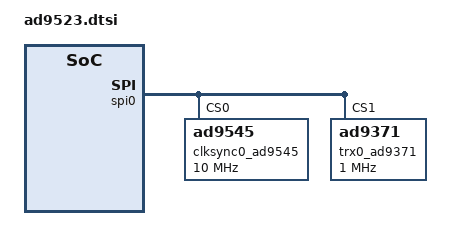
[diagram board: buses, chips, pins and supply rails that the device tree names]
&spi0 {
	status = "okay";
};

//#define fmc_spi spi0

#include <ad9528.h>

/ {
	clocks {

	};
};

&spi0 {
	clksync0_ad9545: ad9545-lpc@0 {
			#address-cells = <1>;
			#size-cells = <0>;
			#clock-cells = <1>;
			compatible = "ad9545";
			reg = <0>;

			//spi-3wire;
			spi-max-frequency = <10000000>;

			//reset-gpios = <&gpio_daq1 3 0>;

			clock-output-names = "ad9508-1_out0", "ad9508-1_out1", "ad9508-1_out2";

			//ad9545,regmap-init=<0x0627 0xB0
                        //                 0x0628 0x00
                        //                 0x0629 0x10
                        //                 0x062A 0x27
                        //                 0x062B 0x20
                        //                 0x062C 0x44
                        //                 0x062D 0xF4
                        //                 0x062E 0x01
                        //                 0x0628 0x06>;
//			ad9545,regmap-init=<0x000 0x18
//					    0x001 0x00
//					    0x003 0x05
//					    0x004 0xFF
//					    0x005 0x00
//					    0x006 0x00
//					    0x00a 0x00
//					    0x00b 0x00
//					    0x00c 0x56
//					    0x00d 0x04
//					    0x00f 0x00
//					    0x100 0x7D
//					    0x101 0x00
//					    0x102 0x0A
//					    0x103 0x00
//					    0x104 0x2C
//					    0x105 0x01
//					    0x106 0x7F
//					    0x107 0x03
//					    0x108 0x08
//					    0x109 0x14
//					    0x10a 0x02
//					    0x10b 0x00
//					    0x200 0xFF
//					    0x201 0x1E
//					    0x202 0x03
//					    0x203 0x05
//					    0x204 0x03
//					    0x205 0x00
//					    0x206 0x00
//					    0x207 0x00
//					    0x208 0x27
//					    0x209 0x00
//					    0x300 0x40
//					    0x301 0x00
//					    0x302 0x00
//					    0x303 0x00
//					    0x304 0x00
//					    0x305 0x09
//					    0x306 0x00
//					    0x307 0x00
//					    0x308 0x09
//					    0x309 0x00
//					    0x30a 0x00
//					    0x30b 0x09
//					    0x30c 0x00
//					    0x30d 0x00
//					    0x30e 0x27
//					    0x30f 0x00
//					    0x310 0x00
//					    0x311 0x09
//					    0x312 0x00
//					    0x313 0x00
//					    0x314 0x09
//					    0x315 0x40
//					    0x316 0x00
//					    0x317 0x00
//					    0x318 0x00
//					    0x319 0x00
//					    0x31a 0x09
//					    0x31b 0x00
//					    0x31c 0x00
//					    0x31d 0x27
//					    0x31e 0x00
//					    0x31f 0x80
//					    0x320 0x13
//					    0x321 0x40
//					    0x322 0x00
//					    0x323 0x00
//					    0x324 0x20
//					    0x325 0x00
//					    0x326 0x00
//					    0x327 0x20
//					    0x328 0x00
//					    0x329 0x00
//					    0x32a 0x00
//					    0x32b 0x00
//					    0x32c 0x00
//					    0x32d 0x00
//					    0x32e 0x00
//					    0x00F 0x01
//					    0x203 0x04
//					    0x00F 0x01
//					    0x400 0x19
//					    0x401 0x00
//					    0x402 0x00
//					    0x00F 0x01
//					    0x403 0x90
//					    0x404 0x04
//					    0x500 0x10
//					    0x501 0x03
//					    0x502 0x38
//					    0x503 0xFF
//					    0x504 0xFF
//					    0x505 0x00
//					    0x506 0x00
//					    0x507 0x00
//					    0x508 0x00
//					    0x509 0x00
//					    0xffe 0x00 >;
			ad9545_0_c0:channel@0 {
				reg = <0>;
				extended-name = "SYSREF";
				clock-frequency = <122880000>;
			};
			ad9545_0_c1:channel@1 {
				reg = <1>;
				extended-name = "PLL_REF";
				clock-frequency = <122880000>;

			};
			ad9545_0_c2:channel@2 {
				reg = <2>;
				extended-name = "GBTCLK";
				clock-frequency = <122880000>;

			};
	};

	trx0_ad9371: ad9371-phy@1 {
		#address-cells = <1>;
		#size-cells = <0>;
		#clock-cells = <1>;
		compatible = "ad9371";

		/* SPI Setup */
		reg = <1>;
		spi-max-frequency = <1000000>;

		/* Clocks */
		clocks = <&clksync0_ad9545 0>, <&clksync0_ad9545 1>, <&clksync0_ad9545 2>, <&clksync0_ad9545 2>, <&clksync0_ad9545 2>;
		clock-names = "jesd_rx_clk", "jesd_tx_clk", "jesd_rx_os_clk", "dev_clk", "fmc_clk";
		clock-output-names = "rx_sampl_clk", "rx_os_sampl_clk", "tx_sampl_clk";

		adi,clocks-device-clock_khz = <122880>;
		adi,clocks-clk-pll-vco-freq_khz = <9830400>;
		adi,clocks-clk-pll-vco-div = <2>;
		adi,clocks-clk-pll-hs-div = <4>;

		adi,rx-settings-rx-pll-lo-frequency_hz = /bits/64 <829500000>;
		adi,tx-settings-tx-pll-lo-frequency_hz = /bits/64 <874500000>;

		/* rx framer */
		adi,jesd204-rx-framer-m = <4>;
		adi,jesd204-rx-framer-scramble = <1>;
		adi,jesd204-rx-framer-serializer-lanes-enabled = <4>;

		/* obs frame */
		adi,jesd204-obs-framer-m = <2>;
		adi,jesd204-obs-framer-scramble = <1>;
		adi,jesd204-obs-framer-serializer-lanes-enabled = <1>;

		/* tx deframer */
		adi,jesd204-deframer-m = <4>;
		adi,jesd204-deframer-scramble = <1>;
		adi,jesd204-deframer-deserializer-lanes-enabled = <5>;

		adi,rx-profile-adc-div = <1>;
		adi,rx-profile-rx-fir-decimation = <2>;
		adi,rx-profile-rx-dec5-decimation = <5>;
		adi,rx-profile-en-high-rej-dec5 = <1>;
		adi,rx-profile-rhb1-decimation = <2>;
		adi,rx-profile-iq-rate_khz = <61440>;
		adi,rx-profile-rf-bandwidth_hz = <40000000>;
		adi,rx-profile-rx-bbf-3db-corner_khz = <40000>;

		adi,obs-profile-adc-div = <1>;
		adi,obs-profile-rx-fir-decimation = <2>;
		adi,obs-profile-rx-dec5-decimation = <5>;
		adi,obs-profile-en-high-rej-dec5 = <1>;
		adi,obs-profile-rhb1-decimation = <1>;
		adi,obs-profile-iq-rate_khz = <122880>;
		adi,obs-profile-rf-bandwidth_hz = <100000000>;
		adi,obs-profile-rx-bbf-3db-corner_khz = <50000>;

		adi,tx-profile-dac-div = <1>; //DACDIV_2p5
		adi,tx-profile-tx-fir-interpolation = <1>;
		adi,tx-profile-thb1-interpolation = <2>;
		adi,tx-profile-thb2-interpolation = <2>;
		adi,tx-profile-tx-input-hb-interpolation = <1>;
		adi,tx-profile-iq-rate_khz = <122880>;
		adi,tx-profile-primary-sig-bandwidth_hz = <20000000>;
		adi,tx-profile-rf-bandwidth_hz = <100000000>;
		adi,tx-profile-tx-dac-3db-corner_khz = <100000>;
		adi,tx-profile-tx-bbf-3db-corner_khz = <50000>;
	};

};
